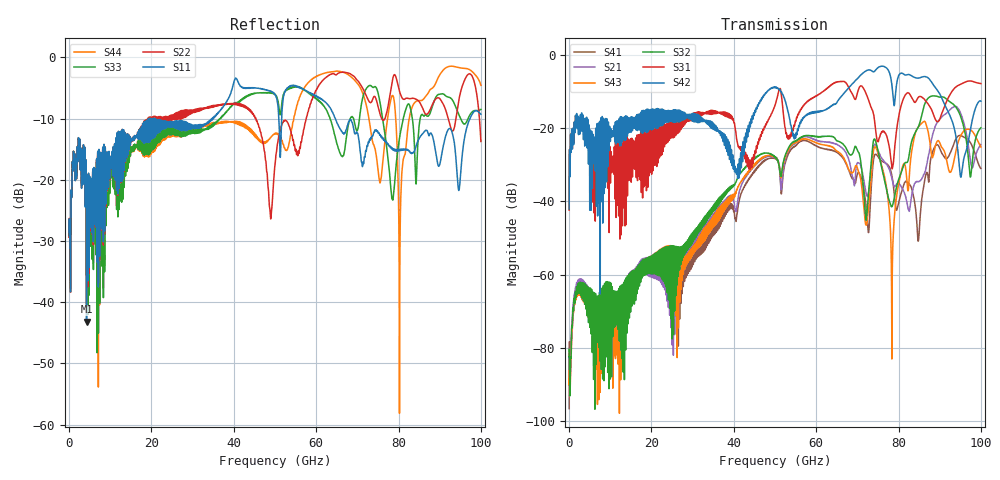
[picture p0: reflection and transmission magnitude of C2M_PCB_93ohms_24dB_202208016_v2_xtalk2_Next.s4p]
! Info: Touchstone file created by Circ.  Input file=Intel_C2M_200G_9p5in_202208016_staggered.circ
# Hz S RI R 50
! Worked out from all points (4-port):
!   10000 points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, 10 MHz to 100 GHz, reference 50 ohm
!   strongest paths, dB at 10 MHz, 25.01 GHz, 50.01 GHz, 75.01 GHz, 100 GHz:
!     S42: -42.1, -16.9, -8.6, -3.4, -12.5
!     S31: -42.4, -20.9, -13.5, -23.5, -7.7
!     S32: -80.5, -63.5, -27.8, -26.1, -19.8
!     S43: -88.5, -60.2, -28.0, -26.8, -25.1
!     S21: -81.6, -70.0, -28.0, -26.0, -24.4
!     S41: -96.7, -61.5, -28.2, -27.7, -31.0
!   lowest |S11| = -43.2 dB at 4.24 GHz (marker M1), VSWR 1.01, Z = 50.2 + j0.651 ohm
!   |S11| at or under -10 dB: start of sweep to 19.42 GHz; 20.98 GHz to 34.79 GHz (13.81 GHz wide, 49.5 % of centre); 64.65 GHz to 97.32 GHz (32.67 GHz wide, 40.3 % of centre)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
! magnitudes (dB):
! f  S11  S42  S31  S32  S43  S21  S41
! 10 MHz  -29.1  -42.1  -42.4  -80.5  -88.5  -81.6  -96.7
! 4.24 GHz  -43.2  -17.0  -18.6  -63.0  -65.6  -62.8  -64.9
! 56.53 GHz  -5.0  -17.9  -14.2  -22.3  -23.0  -22.4  -23.4
! 74.54 GHz  -11.9  -3.9  -21.4  -23.8  -25.3  -24.7  -27.1
! 78.42 GHz  -14.9  -8.4  -31.0  -41.4  -66.8  -33.8  -33.0
! 85.09 GHz  -13.1  -6.1  -11.3  -18.8  -19.3  -34.4  -47.0
! 100 GHz  -9.3  -12.5  -7.7  -19.8  -25.1  -24.4  -31.0
